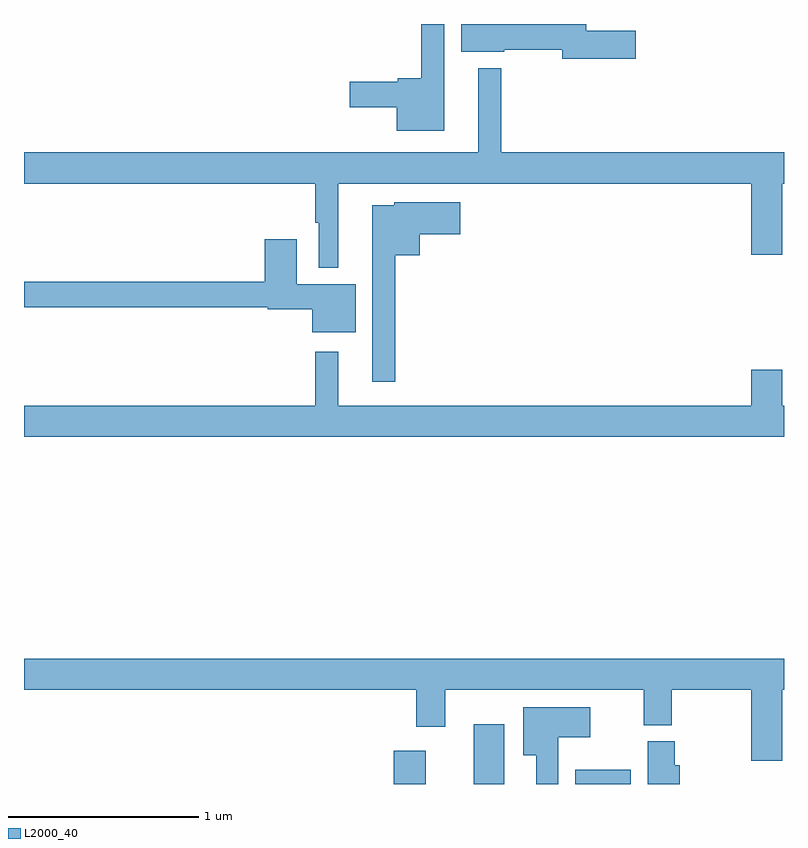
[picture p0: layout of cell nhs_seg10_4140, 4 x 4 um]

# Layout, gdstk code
import gdstk
lib = gdstk.Library(unit=1e-6, precision=1e-09)
def R(c, l, rs):  # rectangles x0, y0, x1, y1
    for r in rs: c.add(gdstk.rectangle(r[:2], r[2:], *l))
def P(c, l, *ps):  # polygons
    for p in ps: c.add(gdstk.Polygon(p, *l))
L2000_40 = (2000, 40)

nhs_seg10_4140 = lib.new_cell('nhs_seg10_4140')
R(nhs_seg10_4140, L2000_40, [(342.947,1286.5,343.114,1286.674), (343.367,1286.5,343.528,1286.815), (343.901,1286.5,344.194,1286.575)])
P(nhs_seg10_4140, L2000_40, [(343.213,1290.5),(343.092,1290.5),(343.092,1290.215),(342.966,1290.215),(342.966,1290.197),(342.714,1290.197),(342.714,1290.062),(342.962,1290.062),(342.962,1289.939),(343.213,1289.939)],
  [(344.221,1290.464),(343.96,1290.464),(343.96,1290.5),(343.301,1290.5),(343.301,1290.353),(343.528,1290.353),(343.528,1290.364),(343.832,1290.364),(343.832,1290.317),(344.221,1290.317)],
  [(342.655,1289.66),(344.828,1289.66),(344.828,1289.286),(344.992,1289.286),(344.992,1289.66),(345,1289.66),(345,1289.824),(343.513,1289.824),(343.513,1290.268),(343.391,1290.268),(343.391,1289.824),(341,1289.824),(341,1289.66),(342.534,1289.66),(342.534,1289.455),(342.551,1289.455),(342.551,1289.216),(342.655,1289.216)],
  [(342.955,1289.282),(343.084,1289.282),(343.084,1289.393),(343.297,1289.393),(343.297,1289.563),(342.948,1289.563),(342.948,1289.545),(342.833,1289.545),(342.833,1288.617),(342.955,1288.617)],
  [(342.745,1289.131),(342.436,1289.131),(342.436,1289.368),(342.266,1289.368),(342.266,1289.144),(341,1289.144),(341,1289.008),(342.282,1289.008),(342.282,1289),(342.518,1289),(342.518,1288.877),(342.745,1288.877)],
  [(345,1288.492),(344.992,1288.492),(344.992,1288.681),(344.828,1288.681),(344.828,1288.492),(342.655,1288.492),(342.655,1288.774),(342.534,1288.774),(342.534,1288.492),(341,1288.492),(341,1288.328),(345,1288.328)],
  [(344.992,1286.996),(345,1286.996),(345,1287.16),(341,1287.16),(341,1286.996),(343.064,1286.996),(343.064,1286.802),(343.216,1286.802),(343.216,1286.996),(344.261,1286.996),(344.261,1286.809),(344.409,1286.809),(344.409,1286.996),(344.828,1286.996),(344.828,1286.622),(344.992,1286.622)],
  [(343.813,1286.747),(343.981,1286.747),(343.981,1286.905),(343.628,1286.905),(343.628,1286.651),(343.697,1286.651),(343.697,1286.5),(343.813,1286.5)],
  [(344.45,1286.598),(344.424,1286.598),(344.424,1286.724),(344.282,1286.724),(344.282,1286.5),(344.45,1286.5)])

lib.write_gds('nhs_seg10_4140.gds')
